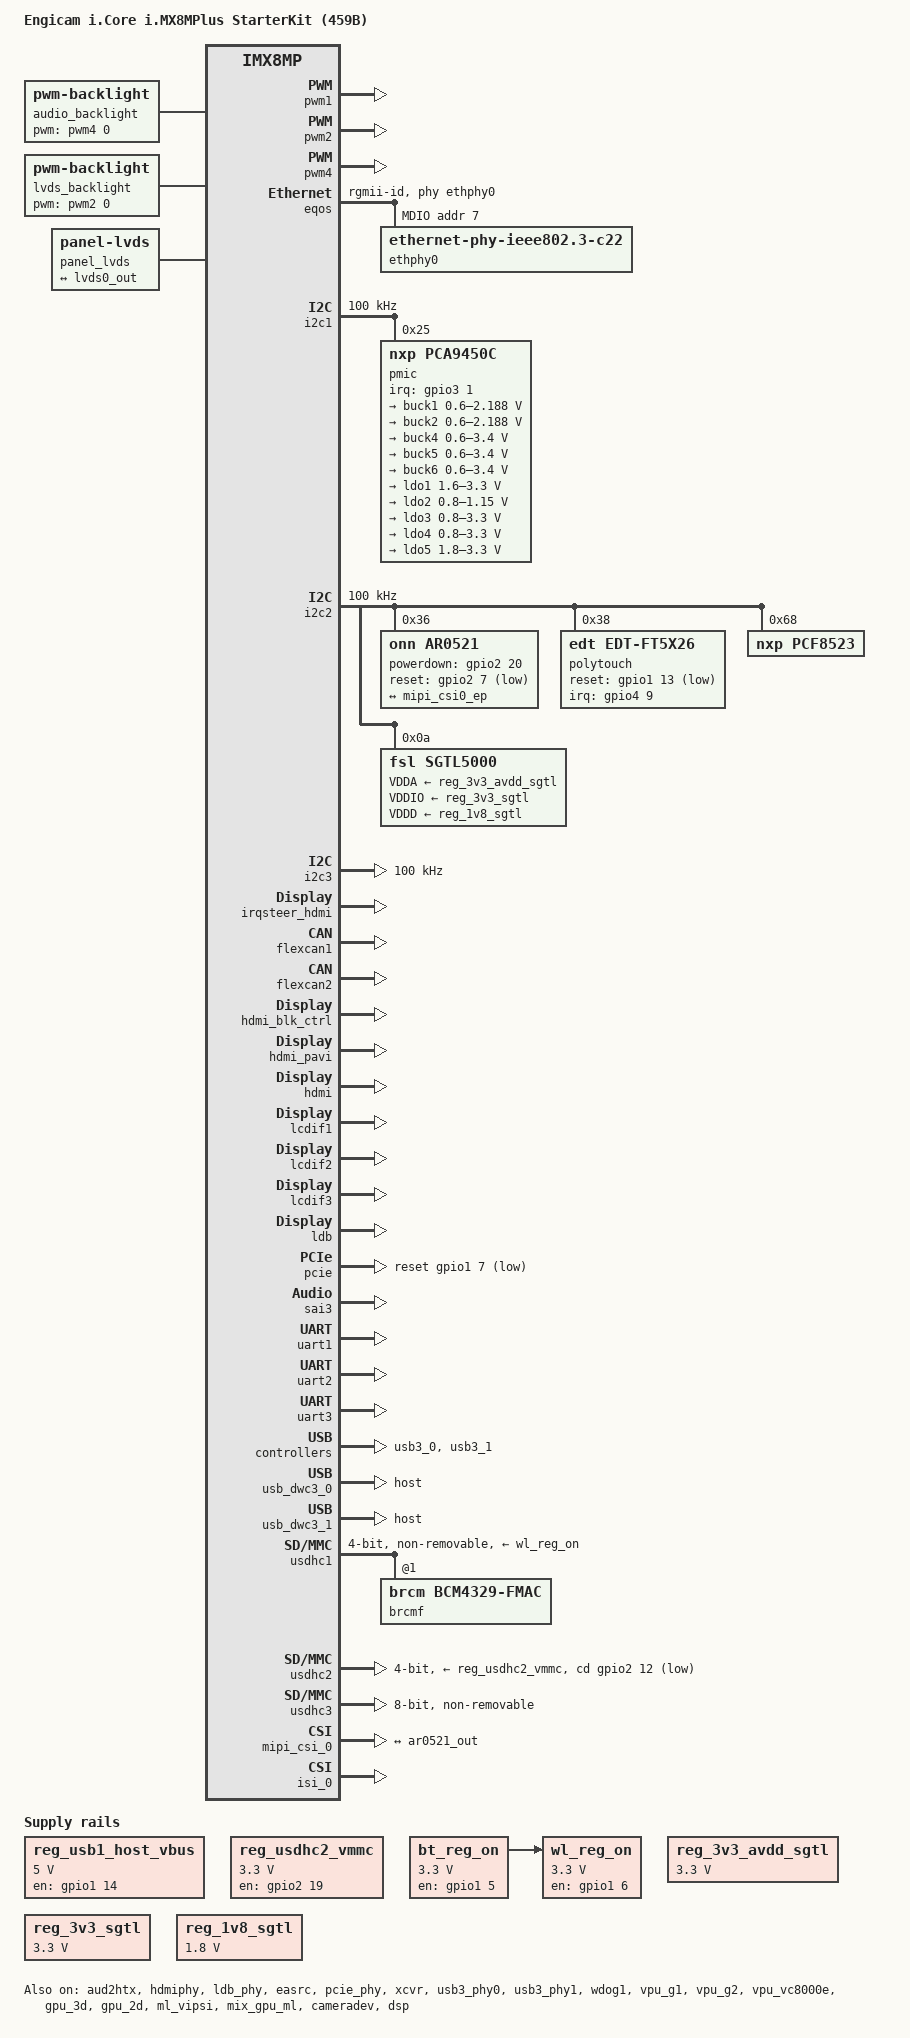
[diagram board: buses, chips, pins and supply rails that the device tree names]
// SPDX-License-Identifier: (GPL-2.0+ OR MIT)
/*
 * Copyright 2020 Engicam
 */

/dts-v1/;

#include <dt-bindings/usb/pd.h>
#include "../freescale/imx8mp.dtsi"

#define AR0521

#define SGTL_MCLK_ON_PWM4

/ {
	model = "Engicam i.Core i.MX8MPlus  StarterKit (459B)";
	compatible = "engi,icore-imx8mp", "fsl,imx8mp";

	reserved-memory {
		#address-cells = <2>;
		#size-cells = <2>;
		ranges;

		rpmsg_reserved: rpmsg@0x55800000 {
			no-map;
			reg = <0 0x55800000 0 0x800000>;
		};
	};

	chosen {
		stdout-path = &uart2;
	};
	
	gpio_export {
		compatible = "gpio-export";
		#size-cells = <0>;
	};

	reg_usb1_host_vbus: regulator-usb1-vbus {
		compatible = "regulator-fixed";
		regulator-name = "usb1_host_vbus";
		pinctrl-names = "default";
		pinctrl-0 = <&pinctrl_usb1_vbus>;
		regulator-min-microvolt = <5000000>;
		regulator-max-microvolt = <5000000>;
		gpio = <&gpio1 14 GPIO_ACTIVE_HIGH>;
		enable-active-high;
		regulator-always-on;
	};

	reg_usdhc2_vmmc: regulator-usdhc2 {
		compatible = "regulator-fixed";
		regulator-name = "VSD_3V3";
		regulator-min-microvolt = <3300000>;
		regulator-max-microvolt = <3300000>;
		gpio = <&gpio2 19 GPIO_ACTIVE_HIGH>;
		enable-active-high;
		startup-delay-us = <100>;
		off-on-delay-us = <12000>;
	};

	wl_reg_on: regulator-wlregon {
		compatible = "regulator-fixed";
		regulator-name = "WL_REG_ON";
		regulator-min-microvolt = <3300000>;
		regulator-max-microvolt = <3300000>;
		gpio = <&gpio1 6 GPIO_ACTIVE_HIGH>;
		enable-active-high;
		vin-supply = <&bt_reg_on>;
	};

	bt_reg_on: regulator-btregon {
		compatible = "regulator-fixed";
		regulator-name = "BT_REG_ON";
		regulator-min-microvolt = <3300000>;
		regulator-max-microvolt = <3300000>;
		gpio = <&gpio1 5 GPIO_ACTIVE_HIGH>;
		enable-active-high;
	};

	reg_3v3_avdd_sgtl: reg_3v3_avdd_regulator {
		compatible = "regulator-fixed";
		regulator-name = "3v3_avdd_sgtl";
		regulator-min-microvolt = <3300000>;
		regulator-max-microvolt = <3300000>;
		always-on;
	};

	reg_3v3_sgtl: reg_3v3_sgtl_regulator {
		compatible = "regulator-fixed";
		regulator-name = "3v3_sgtl";
		regulator-min-microvolt = <3300000>;
		regulator-max-microvolt = <3300000>;
		always-on;
	};

	reg_1v8_sgtl: reg_1v8_sgtl_regulator {
		compatible = "regulator-fixed";
		regulator-name = "1v8_sgtl";
		regulator-min-microvolt = <1800000>;
		regulator-max-microvolt = <1800000>;
		always-on;
	};

	sound-hdmi {
		compatible = "fsl,imx-audio-cdnhdmi";
		model = "audio-hdmi";
		audio-cpu = <&aud2htx>;
		hdmi-out;
		constraint-rate = <44100>,
				<88200>,
				<176400>,
				<32000>,
				<48000>,
				<96000>,
				<192000>;
		status = "okay";
	};

	sound {
		compatible = "simple-audio-card";
		
		simple-audio-card,format = "i2s";
		simple-audio-card,widgets =
				"Microphone", "Microphone Jack",
				"Headphone", "Headphone Jack",
				"Speaker", "Speaker Ext",
				"Line", "Line In Jack";
		simple-audio-card,routing =
				"MIC_IN", "Microphone Jack",
				"Microphone Jack", "Mic Bias",
				"LINE_IN", "Line In Jack",
				"Headphone Jack", "HP_OUT",
				"Speaker Ext", "LINE_OUT";
		
		#sound-dai-cells = <2>;		
		
		simple-audio-card,cpu {
				sound-dai = <&sai3>;
				frame-master;
				bitclock-master;
		};

		simple-audio-card,codec {
				sound-dai = <&sgtl5000>;
				frame-master;
				bitclock-master;
		};   
	};

#ifdef SGTL_MCLK_ON_PWM4
	audio_backlight: audio_backlight {
		compatible = "pwm-backlight";
		pwms = <&pwm4 0 100>;
		status = "okay";

		brightness-levels = < 0  1  2  3  4  5  6  7  8  9
				     10 11 12 13 14 15 16 17 18 19
				     20 21 22 23 24 25 26 27 28 29
				     30 31 32 33 34 35 36 37 38 39
				     40 41 42 43 44 45 46 47 48 49
				     50 51 52 53 54 55 56 57 58 59
				     60 61 62 63 64 65 66 67 68 69
				     70 71 72 73 74 75 76 77 78 79
				     80 81 82 83 84 85 86 87 88 89
				     90 91 92 93 94 95 96 97 98 99
				    100>;
		default-brightness-level = <50>;
	};
#endif

	lvds_backlight: lvds_backlight {
		compatible = "pwm-backlight";
		pwms = <&pwm2 0 100000>;
		status = "okay";

		brightness-levels = < 0  1  2  3  4  5  6  7  8  9
				     10 11 12 13 14 15 16 17 18 19
				     20 21 22 23 24 25 26 27 28 29
				     30 31 32 33 34 35 36 37 38 39
				     40 41 42 43 44 45 46 47 48 49
				     50 51 52 53 54 55 56 57 58 59
				     60 61 62 63 64 65 66 67 68 69
				     70 71 72 73 74 75 76 77 78 79
				     80 81 82 83 84 85 86 87 88 89
				     90 91 92 93 94 95 96 97 98 99
				    100>;
		default-brightness-level = <80>;
	};

	panel_lvds: panel-lvds {
		compatible = "panel-lvds";

		width-mm = <210>;
		height-mm = <158>;
		data-mapping = "vesa-24";
		status = "okay";

		panel-timing {
			/* 1024x600 @65Hz */
			clock-frequency = <65000000>;
			hactive = <1024>;
			vactive = <600>;
			hsync-len = <136>;
			hfront-porch = <20>;
			hback-porch = <160>;
			vfront-porch = <3>;
			vback-porch = <29>;
			vsync-len = <6>;
		};

		port {
			panel_in_lvds: endpoint {
				remote-endpoint = <&lvds0_out>;
			};
		};
	};
};

&aud2htx {
	status = "okay";
};

&clk {
	init-on-array = <IMX8MP_CLK_HSIO_ROOT>;
};

&A53_0 {
	cpu-supply = <&buck2>;
};

&A53_1 {
	cpu-supply = <&buck2>;
};

&A53_2 {
	cpu-supply = <&buck2>;
};

&A53_3 {
	cpu-supply = <&buck2>;
};
&pwm1 {
	pinctrl-names = "default";
	pinctrl-0 = <&pinctrl_pwm1>;
	status = "okay";
};

&pwm2 {
	pinctrl-names = "default";
	pinctrl-0 = <&pinctrl_pwm2>;
	status = "okay";
};

&pwm4 {
	pinctrl-names = "default";
	pinctrl-0 = <&pinctrl_pwm4>;
	status = "okay";
};

&eqos {
	pinctrl-names = "default";
	pinctrl-0 = <&pinctrl_eqos>;
	phy-mode = "rgmii-id";
	phy-handle = <&ethphy0>;
	status = "okay";

	mdio {
		compatible = "snps,dwmac-mdio";
		#address-cells = <1>;
		#size-cells = <0>;

		ethphy0: ethernet-phy@7 {
			compatible = "ethernet-phy-ieee802.3-c22";
			reg = <7>;
			eee-broken-1000t;
		};
	};
};

&i2c1 {
	clock-frequency = <100000>;
	pinctrl-names = "default";
	pinctrl-0 = <&pinctrl_i2c1>;
	status = "okay";

	pmic: pca9450@25 {
		reg = <0x25>;
		compatible = "nxp,pca9450c";
		/* PMIC PCA9450 PMIC_nINT GPIO1_IO3 */
		pinctrl-0 = <&pinctrl_pmic>;
		interrupt-parent = <&gpio3>;
		interrupts = <1 GPIO_ACTIVE_LOW>;

		regulators {
			buck1: BUCK1 {
				regulator-name = "BUCK1";
				regulator-min-microvolt = <600000>;
				regulator-max-microvolt = <2187500>;
				regulator-boot-on;
				regulator-always-on;
				regulator-ramp-delay = <3125>;
			};

			buck2: BUCK2 {
				regulator-name = "BUCK2";
				regulator-min-microvolt = <600000>;
				regulator-max-microvolt = <2187500>;
				regulator-boot-on;
				regulator-always-on;
				regulator-ramp-delay = <3125>;
				nxp,dvs-run-voltage = <950000>;
				nxp,dvs-standby-voltage = <850000>;
			};

			buck4: BUCK4{
				regulator-name = "BUCK4";
				regulator-min-microvolt = <600000>;
				regulator-max-microvolt = <3400000>;
				regulator-boot-on;
				regulator-always-on;
			};

			buck5: BUCK5{
				regulator-name = "BUCK5";
				regulator-min-microvolt = <600000>;
				regulator-max-microvolt = <3400000>;
				regulator-boot-on;
				regulator-always-on;
			};

			buck6: BUCK6 {
				regulator-name = "BUCK6";
				regulator-min-microvolt = <600000>;
				regulator-max-microvolt = <3400000>;
				regulator-boot-on;
				regulator-always-on;
			};

			ldo1: LDO1 {
				regulator-name = "LDO1";
				regulator-min-microvolt = <1600000>;
				regulator-max-microvolt = <3300000>;
				regulator-boot-on;
				regulator-always-on;
			};

			ldo2: LDO2 {
				regulator-name = "LDO2";
				regulator-min-microvolt = <800000>;
				regulator-max-microvolt = <1150000>;
				regulator-boot-on;
				regulator-always-on;
			};

			ldo3: LDO3 {
				regulator-name = "LDO3";
				regulator-min-microvolt = <800000>;
				regulator-max-microvolt = <3300000>;
				regulator-boot-on;
				regulator-always-on;
			};

			ldo4: LDO4 {
				regulator-name = "LDO4";
				regulator-min-microvolt = <800000>;
				regulator-max-microvolt = <3300000>;
				regulator-boot-on;
				regulator-always-on;
			};

			ldo5: LDO5 {
				regulator-name = "LDO5";
				regulator-min-microvolt = <1800000>;
				regulator-max-microvolt = <3300000>;
				regulator-boot-on;
				regulator-always-on;
			};
		};
	};
};

&i2c2 {
	clock-frequency = <100000>;
	pinctrl-names = "default";
	pinctrl-0 = <&pinctrl_i2c2>;
	status = "okay";

#ifdef AR0521
	ar0521: ar0521_mipi@36 {
		compatible = "onn,ar0521";
		reg = <0x36>;

		pinctrl-names = "default";
		pinctrl-0 = <&pinctrl_csi0_pwn>, <&pinctrl_csi0_rst>;
		powerdown-gpios = <&gpio2 20 GPIO_ACTIVE_HIGH>;
		reset-gpios = <&gpio2 7 GPIO_ACTIVE_LOW>;

		clocks = <&clk IMX8MP_CLK_IPP_DO_CLKO2>;
		clock-names = "extclk";
		assigned-clocks = <&clk IMX8MP_CLK_IPP_DO_CLKO2>;
		assigned-clock-parents = <&clk IMX8MP_CLK_24M>;

		/* Does this work for real ?? */
		assigned-clock-rates = <27000000>;

		status = "okay";

		port {
			ar0521_out: endpoint {
				remote-endpoint = <&mipi_csi0_ep>;
				data-lanes = <1 2 3 4>;
			};
		};
	};

#else
	ov5640_0: ov5640_mipi@3c {
		compatible = "ovti,ov5640";
		reg = <0x3c>;
		pinctrl-names = "default";
		pinctrl-0 = <&pinctrl_csi0_pwn>, <&pinctrl_csi0_rst>;
		clocks = <&clk IMX8MP_CLK_IPP_DO_CLKO2>;
		clock-names = "xclk";
		assigned-clocks = <&clk IMX8MP_CLK_IPP_DO_CLKO2>;
		assigned-clock-parents = <&clk IMX8MP_CLK_24M>;
		assigned-clock-rates = <24000000>;
		csi_id = <0>;
		powerdown-gpios = <&gpio2 20 GPIO_ACTIVE_HIGH>;
		reset-gpios = <&gpio2 7 GPIO_ACTIVE_LOW>;
		mclk = <24000000>;
		mclk_source = <0>;
		mipi_csi;
		status = "okay";

		port {
			ov5640_mipi_0_ep: endpoint {
				remote-endpoint = <&mipi_csi0_ep>;
				data-lanes = <1 2>;
				clock-lanes = <0>;
			};
		};
	};
#endif

	polytouch: edt-ft5x26@38 {
		compatible = "edt,edt-ft5x26";
		reg = <0x38>;
		pinctrl-names = "default";
		pinctrl-0 = <&edt_ft5x06_pins>;
		interrupt-parent = <&gpio4>;
		interrupts = <9 IRQ_TYPE_EDGE_FALLING>;
		reset-gpios= <&gpio1 13 GPIO_ACTIVE_LOW>;
	};

	pcf8523: rtc@68 {
		compatible = "nxp,pcf8523";
		reg = <0x68>;
	};

	sgtl5000: codec@a {
			compatible = "fsl,sgtl5000";
			status = "okay";
			#sound-dai-cells = <0>;
			reg = <0x0a>;
			clocks = <&audio_blk_ctrl IMX8MP_CLK_AUDIO_BLK_CTRL_SAI3_MCLK1>;
			clock-names = "mclk";
			assigned-clock-rates = <12000000>, <12000000>;                
			VDDA-supply = <&reg_3v3_avdd_sgtl>;
			VDDIO-supply = <&reg_3v3_sgtl>;
			VDDD-supply = <&reg_1v8_sgtl>;
	};
};

&i2c3 {
	clock-frequency = <100000>;
	pinctrl-names = "default";
	pinctrl-0 = <&pinctrl_i2c3>;
	status = "okay";
};

&irqsteer_hdmi {
	status = "okay";
};

&flexcan1 {
	pinctrl-names = "default";
	pinctrl-0 = <&pinctrl_flexcan1>;
	status = "okay";
};

&flexcan2 {
	pinctrl-names = "default";
	pinctrl-0 = <&pinctrl_flexcan2>;
	status = "okay";
};

&irqsteer_hdmi {
	status = "okay";
};

&hdmi_blk_ctrl {
	status = "okay";
};

&hdmi_pavi {
	status = "okay";
};

&hdmi {
	status = "okay";
};

&hdmiphy {
	status = "okay";
};

&lcdif1 {
	status = "okay";
};

&lcdif2 {
	status = "okay";
};

&lcdif3 {
	status = "okay";
};

&ldb {
	status = "okay";

	lvds-channel@0 {
		fsl,data-mapping = "spwg";
		fsl,data-width = <24>;
		status = "okay";

		port@1 {
			reg = <1>;

			lvds0_out: endpoint {
				remote-endpoint = <&panel_in_lvds>;
			};
		};
	};
};

&ldb_phy {
	status = "okay";
};

&easrc {
	fsl,asrc-rate  = <48000>;
	status = "okay";
};

&pcie{
	pinctrl-names = "default";
	pinctrl-0 = <&pinctrl_pcie>;
	reset-gpio = <&gpio1 7 GPIO_ACTIVE_LOW>;
	ext_osc = <1>;
	clocks = <&clk IMX8MP_CLK_HSIO_AXI_DIV>,
		 <&clk IMX8MP_CLK_PCIE_AUX>,
		 <&clk IMX8MP_CLK_PCIE_PHY>,
		 <&clk IMX8MP_CLK_PCIE_ROOT>;
	clock-names = "pcie", "pcie_aux", "pcie_phy", "pcie_bus";
	assigned-clocks = <&clk IMX8MP_CLK_HSIO_AXI_SRC>,
			  <&clk IMX8MP_CLK_PCIE_AUX>;
	assigned-clock-parents = <&clk IMX8MP_SYS_PLL2_500M>,
				 <&clk IMX8MP_SYS_PLL2_50M>;
	status = "okay";
};

&pcie_phy{
	ext_osc = <1>;
	status = "okay";
};

&sai3 {
	#sound-dai-cells = <0>;
	pinctrl-names = "default";
	pinctrl-0 = <&pinctrl_sai3>;
	assigned-clocks = <&clk IMX8MP_CLK_SAI3>;
	assigned-clock-parents = <&clk IMX8MP_AUDIO_PLL1_OUT>;
	assigned-clock-rates = <12288000>;
	clocks = <&audio_blk_ctrl IMX8MP_CLK_AUDIO_BLK_CTRL_SAI3_IPG>, <&clk IMX8MP_CLK_DUMMY>,
		 <&audio_blk_ctrl IMX8MP_CLK_AUDIO_BLK_CTRL_SAI3_MCLK1>, <&clk IMX8MP_CLK_DUMMY>,
		 <&clk IMX8MP_CLK_DUMMY>;
	clock-names = "bus", "mclk0", "mclk1", "mclk2", "mclk3";
	fsl,sai-mclk-direction-output;
	status = "okay";
};

&xcvr {
	#sound-dai-cells = <0>;
	status = "okay";
};

&sdma2 {
	status = "okay";
};

&uart1 { /* RS232 */
	pinctrl-names = "default";
	pinctrl-0 = <&pinctrl_uart1>;
	status = "okay";
};

&uart2 {/* console */
	pinctrl-names = "default";
	pinctrl-0 = <&pinctrl_uart2>;
	status = "okay";
};

&uart3 { /* RS485 */
	pinctrl-names = "default";
	pinctrl-0 = <&pinctrl_uart3>;
	assigned-clocks = <&clk IMX8MP_CLK_UART3>;
	assigned-clock-parents = <&clk IMX8MP_SYS_PLL1_80M>;
	fsl,uart-has-rtscts;
	status = "okay";
};

&usb3_phy0 {
	status = "okay";
};

&usb3_0 {
	status = "okay";
};

&usb_dwc3_0 {
	dr_mode = "host";
	status = "okay";
};

&usb3_phy1 {
	status = "okay";
};

&usb3_1 {
	status = "okay";
};

&usb_dwc3_1 {
	dr_mode = "host";
	status = "okay";
};

/* WIFI */
&usdhc1 {
	#address-cells = <1>;
	#size-cells = <0>;
	pinctrl-names = "default";
	pinctrl-0 = <&pinctrl_usdhc1>, <&pinctrl_laird>;
	bus-width = <4>;
	no-1-8-v;
	pm-ignore-notify;
	keep-power-in-suspend;
	vmmc-supply = <&wl_reg_on>;
	non-removable;
	status = "okay";

	brcmf: bcrmf@1 {
		reg = <1>;
		compatible = "brcm,bcm4329-fmac";
	};

};

/* SDCARD */
&usdhc2 {
	pinctrl-names = "default", "state_100mhz", "state_200mhz";
	pinctrl-0 = <&pinctrl_usdhc2>, <&pinctrl_usdhc2_gpio>;
	pinctrl-1 = <&pinctrl_usdhc2_100mhz>, <&pinctrl_usdhc2_gpio>;
	pinctrl-2 = <&pinctrl_usdhc2_200mhz>, <&pinctrl_usdhc2_gpio>;
	cd-gpios = <&gpio2 12 GPIO_ACTIVE_LOW>;
	vmmc-supply = <&reg_usdhc2_vmmc>;
	no-1-8-v;	
	bus-width = <4>;
	status = "okay";
};

/* EMMC */
&usdhc3 {
	pinctrl-names = "default", "state_100mhz", "state_200mhz";
	pinctrl-0 = <&pinctrl_usdhc3>;
	pinctrl-1 = <&pinctrl_usdhc3_100mhz>;
	pinctrl-2 = <&pinctrl_usdhc3_200mhz>;
	bus-width = <8>;
	non-removable;
	status = "okay";
};

&wdog1 {
	pinctrl-names = "default";
	pinctrl-0 = <&pinctrl_wdog>;
	fsl,ext-reset-output;
	status = "okay";
};


&vpu_g1 {
	status = "okay";
};

&vpu_g2 {
	status = "okay";
};

&vpu_vc8000e {
	status = "okay";
};

&gpu_3d {
	status = "okay";
};

&gpu_2d {
	status = "okay";
};

&ml_vipsi {
	status = "okay";
};

&mix_gpu_ml {
	status = "okay";
};

&mipi_csi_0 {
	#address-cells = <1>;
	#size-cells = <0>;
	status = "okay";

	port@0 {
		reg = <0>;
#ifdef AR0521
		mipi_csi0_ep: endpoint {
			remote-endpoint = <&ar0521_out>;
			data-lanes = <4>;

			/* According to calculations in the mainline imx8mm
			 * CSI-2 driver this should be 7 for pixelclock
			 * of 168MHz.
			 *
			 * clock_freq = 168 * 8 (bpp) / 4 (lanes) / 2 (DDR)
			 * 	      = 168 Mhz
			 * lane_rate  = clock_freq * 2 = 336 Mbps
			 * ths_settle = (lane_rate - 5000000) / 45000000
			 * 	      = 7
			 *
			 * This indeed has to be confirmed, specifically where
			 * the 5000000 and 45000000 values come from.
			 */
			csis-hs-settle = <7>;

			/*
			 * 0 = 110ns to 280ns (v0.87 to v1.00)
			 * 2 = 150 ns to 430ns (v0.83 to v0.86)
			 *
			 * BSP has this set to 2 (set here)
			 * mainline CSI-2 driver uses 0 (set in the driver)
			 */
			csis-clk-settle = <2>;
			csis-wclk;
		};
#else
		mipi_csi0_ep: endpoint {
			remote-endpoint = <&&ov5640_mipi_0_ep>;
			data-lanes = <2>;
			csis-hs-settle = <13>;
			csis-clk-settle = <2>;
			csis-wclk;
		};

#endif
	};
};

&cameradev {
	status = "okay";
};

&isi_0 {
	status = "okay";

	cap_device {
		status = "okay";
	};

	m2m_device {
		status = "okay";
	};
};

&dsp {
	status = "okay";
};

&iomuxc {
	pinctrl-names = "default";
	pinctrl-0 = <&pinctrl_hog>;

	pinctrl_hog: hoggrp {
		fsl,pins = <
			MX8MP_IOMUXC_HDMI_DDC_SCL__HDMIMIX_HDMI_SCL	0x400001c3
			MX8MP_IOMUXC_HDMI_DDC_SDA__HDMIMIX_HDMI_SDA	0x400001c3
			MX8MP_IOMUXC_HDMI_HPD__HDMIMIX_HDMI_HPD		0x40000119
			MX8MP_IOMUXC_HDMI_CEC__HDMIMIX_HDMI_CEC		0x40000019
		>;
	};

	pinctrl_pwm1: pwm1grp {
		fsl,pins = <
			MX8MP_IOMUXC_GPIO1_IO01__PWM1_OUT	0x116
		>;
	};

	pinctrl_pwm2: pwm2grp {
		fsl,pins = <
			MX8MP_IOMUXC_GPIO1_IO11__PWM2_OUT	0x116
		>;
	};

	pinctrl_pwm4: pwm4grp {
		fsl,pins = <
#ifdef SGTL_MCLK_ON_PWM4
			MX8MP_IOMUXC_SAI3_MCLK__PWM4_OUT	0x116
#else
			MX8MP_IOMUXC_SAI5_RXFS__PWM4_OUT	0x116
#endif
		>;
	};

	pinctrl_eqos: eqosgrp {
		fsl,pins = <
			MX8MP_IOMUXC_ENET_MDC__ENET_QOS_MDC	0x3
			MX8MP_IOMUXC_ENET_MDIO__ENET_QOS_MDIO	0x3
			MX8MP_IOMUXC_ENET_RD0__ENET_QOS_RGMII_RD0	0x91
			MX8MP_IOMUXC_ENET_RD1__ENET_QOS_RGMII_RD1	0x91
			MX8MP_IOMUXC_ENET_RD2__ENET_QOS_RGMII_RD2	0x91
			MX8MP_IOMUXC_ENET_RD3__ENET_QOS_RGMII_RD3	0x91
			MX8MP_IOMUXC_ENET_RXC__CCM_ENET_QOS_CLOCK_GENERATE_RX_CLK	0x91
			MX8MP_IOMUXC_ENET_RX_CTL__ENET_QOS_RGMII_RX_CTL	0x91
			MX8MP_IOMUXC_ENET_TD0__ENET_QOS_RGMII_TD0		0x1f
			MX8MP_IOMUXC_ENET_TD1__ENET_QOS_RGMII_TD1		0x1f
			MX8MP_IOMUXC_ENET_TD2__ENET_QOS_RGMII_TD2		0x1f
			MX8MP_IOMUXC_ENET_TD3__ENET_QOS_RGMII_TD3		0x1f
			MX8MP_IOMUXC_ENET_TX_CTL__ENET_QOS_RGMII_TX_CTL	0x1f
			MX8MP_IOMUXC_ENET_TXC__CCM_ENET_QOS_CLOCK_GENERATE_TX_CLK	0x1f
			MX8MP_IOMUXC_NAND_DATA01__GPIO3_IO07	0x19
		>;
	};

	pinctrl_flexcan1: flexcan1grp {
		fsl,pins = <
			MX8MP_IOMUXC_SAI5_RXD2__CAN1_RX          0x154
			MX8MP_IOMUXC_SAI5_RXD1__CAN1_TX          0x154
		>;
	};

	pinctrl_flexcan2: flexcan2grp {
		fsl,pins = <
			MX8MP_IOMUXC_SAI5_MCLK__CAN2_RX		0x154
			MX8MP_IOMUXC_SAI5_RXD3__CAN2_TX		0x154
		>;
	};

	pinctrl_i2c1: i2c1grp {
		fsl,pins = <
			MX8MP_IOMUXC_I2C1_SCL__I2C1_SCL		0x400001c3
			MX8MP_IOMUXC_I2C1_SDA__I2C1_SDA		0x400001c3
		>;
	};

	pinctrl_i2c2: i2c2grp {
		fsl,pins = <
			MX8MP_IOMUXC_I2C2_SCL__I2C2_SCL		0x400001c3
			MX8MP_IOMUXC_I2C2_SDA__I2C2_SDA		0x400001c3
		>;
	};

	pinctrl_i2c3: i2c3grp {
		fsl,pins = <
			MX8MP_IOMUXC_I2C3_SCL__I2C3_SCL		0x400001c3
			MX8MP_IOMUXC_I2C3_SDA__I2C3_SDA		0x400001c3
		>;
	};

	edt_ft5x06_pins: edt-ft5x06-pins-grp{
		fsl,pins = <
			MX8MP_IOMUXC_SAI1_RXD7__GPIO4_IO09	0x41	/* INT */
			MX8MP_IOMUXC_GPIO1_IO13__GPIO1_IO13	0x41
		>;
	};

	pinctrl_pcie: pciegrp {
		fsl,pins = <
			MX8MP_IOMUXC_GPIO1_IO07__GPIO1_IO07	0x41 
		>;
	};

	pinctrl_pmic: pmicirq {
		fsl,pins = <
			MX8MP_IOMUXC_NAND_CE0_B__GPIO3_IO01	0x41
		>;
	};

	pinctrl_sai3: sai3grp {
		fsl,pins = <
			MX8MP_IOMUXC_SAI3_TXFS__AUDIOMIX_SAI3_TX_SYNC	0xd6
			MX8MP_IOMUXC_SAI3_TXC__AUDIOMIX_SAI3_TX_BCLK	0xd6
			MX8MP_IOMUXC_SAI3_RXD__AUDIOMIX_SAI3_RX_DATA00	0xd6
			MX8MP_IOMUXC_SAI3_TXD__AUDIOMIX_SAI3_TX_DATA00	0xd6
#ifndef SGTL_MCLK_ON_PWM4
			MX8MP_IOMUXC_SAI3_MCLK__AUDIOMIX_SAI3_MCLK	0xd6
#endif
		>;
	};

	pinctrl_uart1: uart1grp {
		fsl,pins = <
			MX8MP_IOMUXC_UART1_RXD__UART1_DCE_RX	0x140
			MX8MP_IOMUXC_UART1_TXD__UART1_DCE_TX	0x140
		>;
	};

	pinctrl_uart2: uart2grp {
		fsl,pins = <
			MX8MP_IOMUXC_UART2_RXD__UART2_DCE_RX	0x49
			MX8MP_IOMUXC_UART2_TXD__UART2_DCE_TX	0x49
		>;
	};

	pinctrl_uart3: uart3grp {
		fsl,pins = <
			MX8MP_IOMUXC_UART3_RXD__UART3_DCE_RX	0x140
			MX8MP_IOMUXC_UART3_TXD__UART3_DCE_TX	0x140
			MX8MP_IOMUXC_SD1_STROBE__UART3_DCE_CTS	0x140
		>;
	};

	pinctrl_usb1_vbus: usb1grp {
		fsl,pins = <
			MX8MP_IOMUXC_GPIO1_IO14__GPIO1_IO14	0x19
		>;
	};

	pinctrl_usdhc1: usdhc1grp {
		fsl,pins = <
			MX8MP_IOMUXC_SD1_CLK__USDHC1_CLK	0x190
			MX8MP_IOMUXC_SD1_CMD__USDHC1_CMD	0x1d0
			MX8MP_IOMUXC_SD1_DATA0__USDHC1_DATA0	0x1d0
			MX8MP_IOMUXC_SD1_DATA1__USDHC1_DATA1	0x1d0
			MX8MP_IOMUXC_SD1_DATA2__USDHC1_DATA2	0x1d0
			MX8MP_IOMUXC_SD1_DATA3__USDHC1_DATA3	0x1d0
		>;
	};

	pinctrl_usdhc1_100mhz: usdhc1grp-100mhz {
		fsl,pins = <
			MX8MP_IOMUXC_SD1_CLK__USDHC1_CLK	0x194
			MX8MP_IOMUXC_SD1_CMD__USDHC1_CMD	0x1d4
			MX8MP_IOMUXC_SD1_DATA0__USDHC1_DATA0	0x1d4
			MX8MP_IOMUXC_SD1_DATA1__USDHC1_DATA1	0x1d4
			MX8MP_IOMUXC_SD1_DATA2__USDHC1_DATA2	0x1d4
			MX8MP_IOMUXC_SD1_DATA3__USDHC1_DATA3	0x1d4
		>;
	};

	pinctrl_usdhc1_200mhz: usdhc1grp-200mhz {
		fsl,pins = <
			MX8MP_IOMUXC_SD1_CLK__USDHC1_CLK	0x196
			MX8MP_IOMUXC_SD1_CMD__USDHC1_CMD	0x1d6
			MX8MP_IOMUXC_SD1_DATA0__USDHC1_DATA0	0x1d6
			MX8MP_IOMUXC_SD1_DATA1__USDHC1_DATA1	0x1d6
			MX8MP_IOMUXC_SD1_DATA2__USDHC1_DATA2	0x1d6
			MX8MP_IOMUXC_SD1_DATA3__USDHC1_DATA3	0x1d6
		>;
	};

	pinctrl_laird: lairdgrp {
		fsl,pins = <
			MX8MP_IOMUXC_GPIO1_IO06__GPIO1_IO06 	0x41
			MX8MP_IOMUXC_GPIO1_IO05__GPIO1_IO05	0x41
		>;
	};	

	pinctrl_usdhc2_gpio: usdhc2grp-gpio {
		fsl,pins = <
			MX8MP_IOMUXC_SD2_CD_B__GPIO2_IO12 	0x1c4
		>;
	};

	pinctrl_usdhc2: usdhc2grp {
		fsl,pins = <
			MX8MP_IOMUXC_SD2_CLK__USDHC2_CLK	0x190
			MX8MP_IOMUXC_SD2_CMD__USDHC2_CMD	0x1d0
			MX8MP_IOMUXC_SD2_DATA0__USDHC2_DATA0	0x1d0
			MX8MP_IOMUXC_SD2_DATA1__USDHC2_DATA1	0x1d0
			MX8MP_IOMUXC_SD2_DATA2__USDHC2_DATA2	0x1d0
			MX8MP_IOMUXC_SD2_DATA3__USDHC2_DATA3	0x1d0
			MX8MP_IOMUXC_GPIO1_IO04__USDHC2_VSELECT	0xc1
		>;
	};

	pinctrl_usdhc2_100mhz: usdhc2grp-100mhz {
		fsl,pins = <
			MX8MP_IOMUXC_SD2_CLK__USDHC2_CLK	0x194
			MX8MP_IOMUXC_SD2_CMD__USDHC2_CMD	0x1d4
			MX8MP_IOMUXC_SD2_DATA0__USDHC2_DATA0	0x1d4
			MX8MP_IOMUXC_SD2_DATA1__USDHC2_DATA1	0x1d4
			MX8MP_IOMUXC_SD2_DATA2__USDHC2_DATA2	0x1d4
			MX8MP_IOMUXC_SD2_DATA3__USDHC2_DATA3	0x1d4
			MX8MP_IOMUXC_GPIO1_IO04__USDHC2_VSELECT 0xc1
		>;
	};

	pinctrl_usdhc2_200mhz: usdhc2grp-200mhz {
		fsl,pins = <
			MX8MP_IOMUXC_SD2_CLK__USDHC2_CLK	0x196
			MX8MP_IOMUXC_SD2_CMD__USDHC2_CMD	0x1d6
			MX8MP_IOMUXC_SD2_DATA0__USDHC2_DATA0	0x1d6
			MX8MP_IOMUXC_SD2_DATA1__USDHC2_DATA1	0x1d6
			MX8MP_IOMUXC_SD2_DATA2__USDHC2_DATA2	0x1d6
			MX8MP_IOMUXC_SD2_DATA3__USDHC2_DATA3	0x1d6
			MX8MP_IOMUXC_GPIO1_IO04__USDHC2_VSELECT 0xc1
		>;
	};

	pinctrl_usdhc3: usdhc3grp {
		fsl,pins = <
			MX8MP_IOMUXC_NAND_WE_B__USDHC3_CLK	0x190
			MX8MP_IOMUXC_NAND_WP_B__USDHC3_CMD	0x1d0
			MX8MP_IOMUXC_NAND_DATA04__USDHC3_DATA0	0x1d0
			MX8MP_IOMUXC_NAND_DATA05__USDHC3_DATA1	0x1d0
			MX8MP_IOMUXC_NAND_DATA06__USDHC3_DATA2	0x1d0
			MX8MP_IOMUXC_NAND_DATA07__USDHC3_DATA3	0x1d0
			MX8MP_IOMUXC_NAND_RE_B__USDHC3_DATA4	0x1d0
			MX8MP_IOMUXC_NAND_CE2_B__USDHC3_DATA5	0x1d0
			MX8MP_IOMUXC_NAND_CE3_B__USDHC3_DATA6	0x1d0
			MX8MP_IOMUXC_NAND_CLE__USDHC3_DATA7	0x1d0
			MX8MP_IOMUXC_NAND_CE1_B__USDHC3_STROBE	0x190
		>;
	};

	pinctrl_usdhc3_100mhz: usdhc3grp-100mhz {
		fsl,pins = <
			MX8MP_IOMUXC_NAND_WE_B__USDHC3_CLK	0x194
			MX8MP_IOMUXC_NAND_WP_B__USDHC3_CMD	0x1d4
			MX8MP_IOMUXC_NAND_DATA04__USDHC3_DATA0	0x1d4
			MX8MP_IOMUXC_NAND_DATA05__USDHC3_DATA1	0x1d4
			MX8MP_IOMUXC_NAND_DATA06__USDHC3_DATA2	0x1d4
			MX8MP_IOMUXC_NAND_DATA07__USDHC3_DATA3	0x1d4
			MX8MP_IOMUXC_NAND_RE_B__USDHC3_DATA4	0x1d4
			MX8MP_IOMUXC_NAND_CE2_B__USDHC3_DATA5	0x1d4
			MX8MP_IOMUXC_NAND_CE3_B__USDHC3_DATA6	0x1d4
			MX8MP_IOMUXC_NAND_CLE__USDHC3_DATA7	0x1d4
			MX8MP_IOMUXC_NAND_CE1_B__USDHC3_STROBE	0x194
		>;
	};

	pinctrl_usdhc3_200mhz: usdhc3grp-200mhz {
		fsl,pins = <
			MX8MP_IOMUXC_NAND_WE_B__USDHC3_CLK	0x196
			MX8MP_IOMUXC_NAND_WP_B__USDHC3_CMD	0x1d6
			MX8MP_IOMUXC_NAND_DATA04__USDHC3_DATA0	0x1d6
			MX8MP_IOMUXC_NAND_DATA05__USDHC3_DATA1	0x1d6
			MX8MP_IOMUXC_NAND_DATA06__USDHC3_DATA2	0x1d6
			MX8MP_IOMUXC_NAND_DATA07__USDHC3_DATA3	0x1d6
			MX8MP_IOMUXC_NAND_RE_B__USDHC3_DATA4	0x1d6
			MX8MP_IOMUXC_NAND_CE2_B__USDHC3_DATA5	0x1d6
			MX8MP_IOMUXC_NAND_CE3_B__USDHC3_DATA6	0x1d6
			MX8MP_IOMUXC_NAND_CLE__USDHC3_DATA7	0x1d6
			MX8MP_IOMUXC_NAND_CE1_B__USDHC3_STROBE	0x196
		>;
	};

	pinctrl_wdog: wdoggrp {
		fsl,pins = <
			MX8MP_IOMUXC_GPIO1_IO02__WDOG1_WDOG_B	0xc6
		>;
	};

	pinctrl_csi0_pwn: csi0_pwn_grp {
		fsl,pins = <
			MX8MP_IOMUXC_SD2_WP__GPIO2_IO20	0x19
		>;
	};

	pinctrl_csi0_rst: csi0_rst_grp {
		fsl,pins = <
			MX8MP_IOMUXC_SD1_DATA5__GPIO2_IO07	0x19
		>;
	};
};
